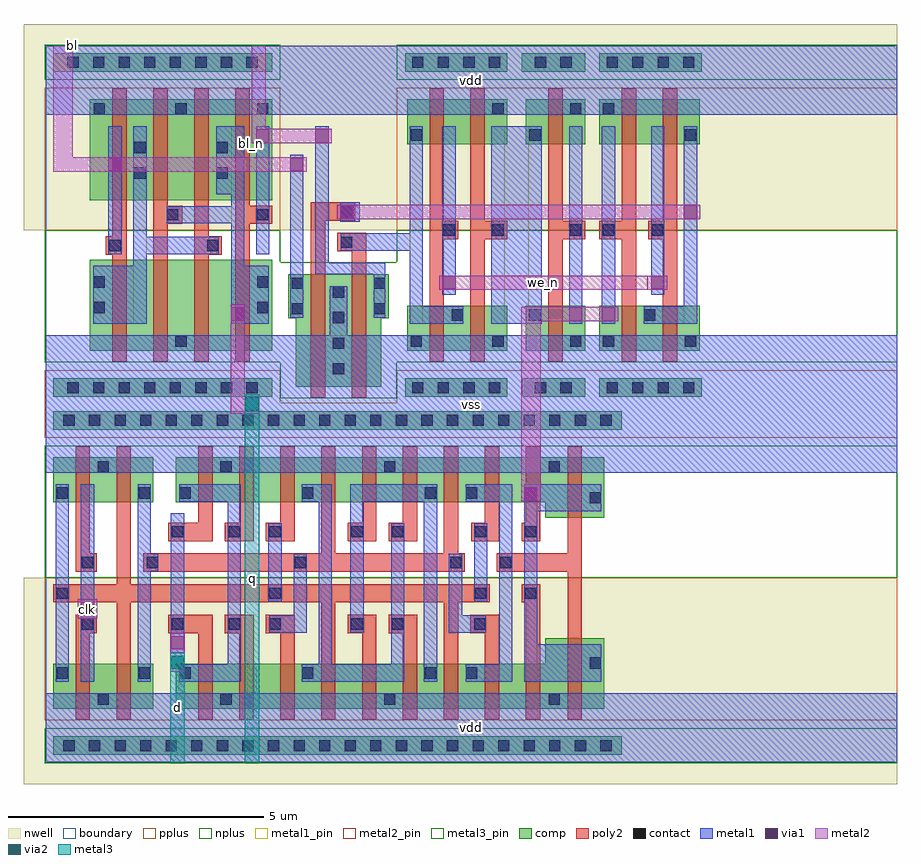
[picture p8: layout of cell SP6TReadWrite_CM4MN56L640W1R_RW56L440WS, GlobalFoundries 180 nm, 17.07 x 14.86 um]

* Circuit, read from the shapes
.subckt SP6TReadWrite_CM4MN56L640W1R_RW56L440WS bl bl_n clk d q vdd vss we_n
XM1 vss clk n1 vss nfet_03v3 w=0.88u l=0.28u
XM2 n2 bl nsnrlatch_x1_0/nq vss nfet_03v3 w=1.775u l=0.28u
XM3 n3 n1 vss vss nfet_03v3 w=0.88u l=0.28u
XM4 vss q n2 vss nfet_03v3 w=1.775u l=0.28u
XM5 n4 nsnrlatch_x1_0/nq vss vss nfet_03v3 w=1.775u l=0.28u
XM6 vss d n5 vss nfet_03v3 w=0.88u l=0.28u
XM7 q bl_n n4 vss nfet_03v3 w=1.775u l=0.28u
XM8 n6 n5 vss vss nfet_03v3 w=0.88u l=0.28u
XM9 n7 n1 n6 vss nfet_03v3 w=0.88u l=0.28u
XM10 vss nor2_x0_3/nq bl vss nfet_03v3 w=2.2u l=0.28u
XM11 n8 n3 n7 vss nfet_03v3 w=0.88u l=0.28u
XM12 bl_n nor2_x0_1/nq vss vss nfet_03v3 w=2.2u l=0.28u
XM13 vss n9 n8 vss nfet_03v3 w=0.88u l=0.28u
XM14 n9 n7 vss vss nfet_03v3 w=0.88u l=0.28u
XM15 nor2_x0_1/nq we_n vss vss nfet_03v3 w=0.88u l=0.28u
XM16 n10 n3 n9 vss nfet_03v3 w=0.88u l=0.28u
XM17 vss nor2_x0_1/i0 nor2_x0_1/nq vss nfet_03v3 w=0.88u l=0.28u
XM18 n11 n1 n10 vss nfet_03v3 w=0.88u l=0.28u
XM19 vss inv_x0_2/i n11 vss nfet_03v3 w=0.88u l=0.28u
XM20 vss inv_x0_2/i nor2_x0_1/i0 vss nfet_03v3 w=0.88u l=0.28u
XM21 inv_x0_2/i n10 vss vss nfet_03v3 w=1.175u l=0.28u
XM22 nor2_x0_3/nq inv_x0_2/i vss vss nfet_03v3 w=0.88u l=0.28u
XM23 vss we_n nor2_x0_3/nq vss nfet_03v3 w=0.88u l=0.28u
XM24 vdd clk n1 vdd pfet_03v3 w=0.88u l=0.28u
XM25 nsnrlatch_x1_0/nq bl vdd vdd pfet_03v3 w=1.975u l=0.28u
XM26 n3 n1 vdd vdd pfet_03v3 w=0.88u l=0.28u
XM27 vdd q nsnrlatch_x1_0/nq vdd pfet_03v3 w=1.975u l=0.28u
XM28 q nsnrlatch_x1_0/nq vdd vdd pfet_03v3 w=1.975u l=0.28u
XM29 vdd d n5 vdd pfet_03v3 w=0.88u l=0.28u
XM30 vdd bl_n q vdd pfet_03v3 w=1.975u l=0.28u
XM31 n12 n5 vdd vdd pfet_03v3 w=0.88u l=0.28u
XM32 n7 n3 n12 vdd pfet_03v3 w=0.88u l=0.28u
XM33 n13 n1 n7 vdd pfet_03v3 w=0.88u l=0.28u
XM34 vdd n9 n13 vdd pfet_03v3 w=0.88u l=0.28u
XM35 n9 n7 vdd vdd pfet_03v3 w=0.88u l=0.28u
XM36 n14 we_n nor2_x0_1/nq vdd pfet_03v3 w=0.88u l=0.28u
XM37 n10 n1 n9 vdd pfet_03v3 w=0.88u l=0.28u
XM38 vdd nor2_x0_1/i0 n14 vdd pfet_03v3 w=0.88u l=0.28u
XM39 n15 n3 n10 vdd pfet_03v3 w=0.88u l=0.28u
XM40 vdd inv_x0_2/i n15 vdd pfet_03v3 w=0.88u l=0.28u
XM41 vdd inv_x0_2/i nor2_x0_1/i0 vdd pfet_03v3 w=0.88u l=0.28u
XM42 inv_x0_2/i n10 vdd vdd pfet_03v3 w=1.375u l=0.28u
XM43 n16 inv_x0_2/i vdd vdd pfet_03v3 w=0.88u l=0.28u
XM44 nor2_x0_3/nq we_n n16 vdd pfet_03v3 w=0.88u l=0.28u
.ends

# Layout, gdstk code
from math import pi, radians
import gdstk
lib = gdstk.Library(unit=1e-6, precision=1e-09)
def R(c, l, rs):  # rectangles x0, y0, x1, y1
    for r in rs: c.add(gdstk.rectangle(r[:2], r[2:], *l))
def A(c, l, x, y, w, h, nx, ny, dx, dy):  # array of equal rectangles
    R(c, l, [(x+i*dx, y+j*dy, x+i*dx+w, y+j*dy+h) for i in range(nx) for j in range(ny)])
def P(c, l, *ps):  # polygons
    for p in ps: c.add(gdstk.Polygon(p, *l))
boundary = (0, 0)
nwell = (21, 0)
comp = (22, 0)
poly2 = (30, 0)
pplus = (31, 0)
nplus = (32, 0)
contact = (33, 0)
metal1 = (34, 0)
metal1_pin = (34, 10)
via1 = (35, 0)
metal2 = (36, 0)
metal2_pin = (36, 10)
via2 = (38, 0)
metal3 = (42, 0)
metal3_pin = (42, 10)

nsnrlatch_x1 = lib.new_cell('nsnrlatch_x1')
R(nsnrlatch_x1, nwell, [(-0.43,3.4,4.99,7.43)])
R(nsnrlatch_x1, comp, [(0.14,0.14,4.42,0.5), (0.14,1.045,3.7,2.82), (0.14,3.98,3.7,5.955), (0.14,6.5,4.42,6.86)])
R(nsnrlatch_x1, poly2, [(1.3,2.92,1.52,3.28), (3.12,2.92,3.21,3.28)])
P(nsnrlatch_x1, poly2, [(2.18,0.825),(2.18,3.52),(1.9,3.52),(1.9,3.88),(2.18,3.88),(2.18,6.175),(2.46,6.175),(2.46,0.825)],
  [(0.58,0.825),(0.58,3.52),(0.14,3.52),(0.14,3.88),(0.58,3.88),(0.58,6.175),(0.86,6.175),(0.86,0.825)],
  [(1.38,0.825),(1.38,2.92),(1.12,2.92),(1.12,3.28),(1.38,3.28),(1.38,6.175),(1.66,6.175),(1.66,0.825)],
  [(2.98,0.825),(2.98,6.175),(3.26,6.175),(3.26,3.28),(3.39,3.28),(3.39,2.92),(3.26,2.92),(3.26,0.825)])
R(nsnrlatch_x1, pplus, [(-0.02,-0.02,4.58,0.66), (-0.02,3.4,4.58,6.185)])
R(nsnrlatch_x1, nplus, [(-0.02,0.815,4.58,3.4), (-0.02,6.34,4.58,7.02)])
A(nsnrlatch_x1, contact, 0.42, 0.21, 0.22, 0.22, 8, 2, 0.5, 6.36)
A(nsnrlatch_x1, contact, 0.21, 5.665, 0.22, 0.22, 3, 1, 1.6, 0)
R(nsnrlatch_x1, contact, [(1.81,1.115,2.03,1.335), (0.21,1.775,0.43,1.995), (3.41,1.775,3.63,1.995), (0.21,2.275,0.43,2.495), (3.41,2.275,3.63,2.495), (1.19,2.99,1.41,3.21), (3.1,2.99,3.32,3.21), (0.21,3.59,0.43,3.81), (1.97,3.59,2.19,3.81), (1.01,4.405,1.23,4.625), (2.61,4.405,2.83,4.625), (1.01,4.905,1.23,5.125), (2.61,4.905,2.83,5.125)])
R(nsnrlatch_x1, metal1, [(0,0,4.56,1.34), (0.19,2.93,0.45,5.43), (3.08,2.93,3.34,5.43), (0,5.66,4.56,7)])
P(nsnrlatch_x1, metal1, [(0.205,1.57),(0.205,2.7),(0.68,2.7),(0.68,5.43),(1.235,5.43),(1.235,4.1),(0.94,4.1),(0.94,3.87),(2.195,3.87),(2.195,3.53),(0.94,3.53),(0.94,1.57)],
  [(2.59,1.57),(2.59,2.93),(1.185,2.93),(1.185,3.27),(2.59,3.27),(2.59,5.43),(2.85,5.43),(2.85,2.7),(3.635,2.7),(3.635,1.57)])
R(nsnrlatch_x1, metal1_pin, [(0,0,4.56,1.34), (0.68,1.57,0.94,5.43), (2.59,1.57,2.85,5.43), (0.19,2.93,0.45,5.43), (3.08,2.93,3.34,5.43), (0,5.66,4.56,7)])
nsnrlatch_x1.add(gdstk.Label('q', (0.81,3.5), layer=34, texttype=10))
nsnrlatch_x1.add(gdstk.Label('vdd', (2.28,6.33), layer=34, texttype=10))
nsnrlatch_x1.add(gdstk.Label('vss', (2.28,0.67), layer=34, texttype=10))
nsnrlatch_x1.add(gdstk.Label('nset', (0.32,4.18), layer=34, texttype=10))
nsnrlatch_x1.add(gdstk.Label('nq', (2.72,3.5), layer=34, texttype=10))
nsnrlatch_x1.add(gdstk.Label('nrst', (3.21,4.18), layer=34, texttype=10))

nor2_x0 = lib.new_cell('nor2_x0')
R(nor2_x0, nwell, [(-0.43,3.4,2.71,7.43)])
R(nor2_x0, comp, [(0.14,0.14,2.14,0.5), (0.14,1.045,2.1,1.925), (0.14,5.075,2.1,5.955), (0.14,6.5,2.14,6.86)])
P(nor2_x0, poly2, [(0.58,0.825),(0.58,3.22),(0.14,3.22),(0.14,3.58),(0.58,3.58),(0.58,6.175),(0.86,6.175),(0.86,0.825)],
  [(1.38,0.825),(1.38,3.22),(1.1,3.22),(1.1,3.58),(1.38,3.58),(1.38,6.175),(1.66,6.175),(1.66,0.825)])
R(nor2_x0, pplus, [(-0.02,-0.02,2.3,0.66), (-0.02,3.4,2.3,6.185)])
R(nor2_x0, nplus, [(-0.02,0.815,2.3,3.4), (-0.02,6.34,2.3,7.02)])
A(nor2_x0, contact, 0.28, 0.21, 0.22, 0.22, 4, 2, 0.5, 6.36)
R(nor2_x0, contact, [(0.21,1.115,0.43,1.335), (1.81,1.115,2.03,1.335), (1.01,1.63,1.23,1.85), (0.21,3.29,0.43,3.51), (1.17,3.29,1.39,3.51), (1.81,5.15,2.03,5.37), (0.21,5.665,0.43,5.885)])
R(nor2_x0, metal1, [(0,0,2.28,1.34), (0.19,1.57,0.45,5.43), (1.15,2.14,1.41,5.43), (0,5.66,2.28,7)])
P(nor2_x0, metal1, [(1.005,1.57),(1.005,1.91),(1.79,1.91),(1.79,5.43),(2.05,5.43),(2.05,1.57)])
R(nor2_x0, metal1_pin, [(0,0,2.28,1.34), (0.19,1.57,0.45,5.43), (1.79,1.57,2.05,5.43), (1.15,2.14,1.41,5.43), (0,5.66,2.28,7)])
nor2_x0.add(gdstk.Label('vss', (1.14,0.67), layer=34, texttype=10))
nor2_x0.add(gdstk.Label('vdd', (1.14,6.33), layer=34, texttype=10))
nor2_x0.add(gdstk.Label('nq', (1.92,3.5), layer=34, texttype=10))
nor2_x0.add(gdstk.Label('i0', (0.32,3.5), layer=34, texttype=10))
nor2_x0.add(gdstk.Label('i1', (1.28,3.785), layer=34, texttype=10))

inv_x0 = lib.new_cell('inv_x0')
R(inv_x0, nwell, [(-0.43,3.4,1.95,7.43)])
R(inv_x0, comp, [(0.14,0.14,1.38,0.5), (0.14,1.045,1.3,1.925), (0.14,5.075,1.3,5.955), (0.14,6.5,1.38,6.86)])
P(inv_x0, poly2, [(0.58,0.825),(0.58,3.22),(0.14,3.22),(0.14,3.58),(0.58,3.58),(0.58,6.175),(0.86,6.175),(0.86,0.825)])
R(inv_x0, pplus, [(-0.02,-0.02,1.54,0.66), (-0.02,3.4,1.54,6.185)])
R(inv_x0, nplus, [(-0.02,0.815,1.54,3.4), (-0.02,6.34,1.54,7.02)])
R(inv_x0, contact, [(0.4,0.21,0.62,0.43), (0.9,0.21,1.12,0.43), (0.21,1.115,0.43,1.335), (1.01,1.63,1.23,1.85), (0.21,3.29,0.43,3.51), (1.01,5.15,1.23,5.37), (0.21,5.665,0.43,5.885), (0.4,6.57,0.62,6.79), (0.9,6.57,1.12,6.79)])
R(inv_x0, metal1, [(0,0,1.52,1.34), (0.19,1.57,0.45,5.43), (0.99,1.57,1.25,5.43), (0,5.66,1.52,7)])
R(inv_x0, metal1_pin, [(0,0,1.52,1.34), (0.19,1.57,0.45,5.43), (0.99,1.57,1.25,5.43), (0,5.66,1.52,7)])
inv_x0.add(gdstk.Label('vss', (0.76,0.67), layer=34, texttype=10))
inv_x0.add(gdstk.Label('vdd', (0.76,6.33), layer=34, texttype=10))
inv_x0.add(gdstk.Label('nq', (1.12,3.5), layer=34, texttype=10))
inv_x0.add(gdstk.Label('i', (0.32,3.5), layer=34, texttype=10))

dff_x1 = lib.new_cell('dff_x1')
R(dff_x1, nwell, [(-0.43,3.4,11.83,7.43)])
R(dff_x1, comp, [(0.14,0.14,11.26,0.5), (0.14,1.045,2.1,1.925), (0.14,5.075,2.1,5.955), (0.14,6.5,11.26,6.86)])
P(dff_x1, comp, [(9.76,4.58),(9.76,5.075),(2.54,5.075),(2.54,5.955),(10.92,5.955),(10.92,4.58)],
  [(2.54,1.045),(2.54,1.925),(9.76,1.925),(9.76,2.22),(10.92,2.22),(10.92,1.045)])
P(dff_x1, poly2, [(4.58,0.825),(4.58,2.32),(4.3,2.32),(4.3,2.68),(4.86,2.68),(4.86,0.825)],
  [(8.58,0.825),(8.58,2.32),(8.32,2.32),(8.32,2.68),(8.86,2.68),(8.86,0.825)],
  [(1.38,0.825),(1.38,3.52),(0.14,3.52),(0.14,3.88),(1.38,3.88),(1.38,6.175),(1.66,6.175),(1.66,3.88),(5.38,3.88),(5.38,6.175),(5.66,6.175),(5.66,3.88),(7.78,3.88),(7.78,6.175),(8.06,6.175),(8.06,3.88),(8.68,3.88),(8.68,3.52),(1.66,3.52),(1.66,0.825)],
  [(0.58,0.825),(0.58,3.28),(0.99,3.28),(0.99,2.92),(0.86,2.92),(0.86,0.825)],
  [(0.58,4.12),(0.58,6.175),(0.86,6.175),(0.86,4.48),(0.99,4.48),(0.99,4.12)],
  [(4.3,4.12),(4.3,4.48),(4.58,4.48),(4.58,6.175),(4.86,6.175),(4.86,4.12)],
  [(5.38,0.825),(5.38,2.92),(1.9,2.92),(1.9,3.28),(8.19,3.28),(8.19,2.92),(8.06,2.92),(8.06,0.825),(7.78,0.825),(7.78,2.92),(5.66,2.92),(5.66,0.825)],
  [(8.3,4.12),(8.3,4.48),(8.58,4.48),(8.58,6.175),(8.86,6.175),(8.86,4.12)],
  [(3.5,4.12),(3.5,4.48),(3.78,4.48),(3.78,6.175),(4.06,6.175),(4.06,4.12)],
  [(3.78,0.825),(3.78,2.32),(3.5,2.32),(3.5,2.68),(4.06,2.68),(4.06,0.825)],
  [(2.98,0.825),(2.98,2.32),(2.39,2.32),(2.39,2.68),(3.26,2.68),(3.26,0.825)],
  [(2.39,4.12),(2.39,4.48),(2.98,4.48),(2.98,6.175),(3.26,6.175),(3.26,4.12)],
  [(6.98,0.825),(6.98,2.32),(6.7,2.32),(6.7,2.68),(7.26,2.68),(7.26,0.825)],
  [(6.7,4.12),(6.7,4.48),(6.98,4.48),(6.98,6.175),(7.26,6.175),(7.26,4.12)],
  [(5.9,4.12),(5.9,4.48),(6.18,4.48),(6.18,6.175),(6.46,6.175),(6.46,4.12)],
  [(6.18,0.825),(6.18,2.32),(5.9,2.32),(5.9,2.68),(6.46,2.68),(6.46,0.825)],
  [(10.2,0.825),(10.2,2.92),(8.81,2.92),(8.81,3.28),(10.2,3.28),(10.2,6.175),(10.48,6.175),(10.48,0.825)],
  [(9.3,3.52),(9.3,3.88),(9.38,3.88),(9.38,6.175),(9.66,6.175),(9.66,3.52)],
  [(9.38,0.825),(9.38,2.32),(9.3,2.32),(9.3,2.68),(9.66,2.68),(9.66,0.825)])
R(dff_x1, pplus, [(-0.02,-0.02,11.42,0.66), (-0.02,3.4,11.42,6.185)])
R(dff_x1, nplus, [(-0.02,0.815,11.42,3.4), (-0.02,6.34,11.42,7.02)])
A(dff_x1, contact, 0.34, 0.21, 0.22, 0.22, 22, 2, 0.5, 6.36)
A(dff_x1, contact, 2.61, 1.63, 0.22, 0.22, 3, 2, 2.4, 3.52)
R(dff_x1, contact, [(1.01,1.115,1.23,1.335), (3.41,1.115,3.63,1.335), (6.61,1.115,6.83,1.335), (9.83,1.115,10.05,1.335), (0.21,1.63,0.43,1.85), (1.81,1.63,2.03,1.85), (8.21,1.63,8.43,1.85), (10.63,1.725,10.85,1.945), (2.46,2.39,2.68,2.61), (3.57,2.39,3.79,2.61), (4.37,2.39,4.59,2.61), (5.97,2.39,6.19,2.61), (6.77,2.39,6.99,2.61), (8.39,2.39,8.61,2.61), (9.37,2.39,9.59,2.61), (0.7,2.99,0.92,3.21), (1.97,2.99,2.19,3.21), (4.86,2.99,5.08,3.21), (7.9,2.99,8.12,3.21), (8.88,2.99,9.1,3.21), (0.21,3.59,0.43,3.81), (4.37,3.59,4.59,3.81), (8.39,3.59,8.61,3.81), (9.37,3.59,9.59,3.81), (0.7,4.19,0.92,4.41), (2.46,4.19,2.68,4.41), (3.57,4.19,3.79,4.41), (4.37,4.19,4.59,4.41), (5.97,4.19,6.19,4.41), (6.77,4.19,6.99,4.41), (8.37,4.19,8.59,4.41), (10.63,4.955,10.85,5.175), (0.21,5.15,0.43,5.37), (1.81,5.15,2.03,5.37), (8.21,5.15,8.43,5.37), (1.01,5.665,1.23,5.885), (3.41,5.665,3.63,5.885), (6.61,5.665,6.83,5.885), (9.83,5.665,10.05,5.885)])
R(dff_x1, metal1, [(0,0,11.4,1.34), (0.19,1.57,0.45,5.43), (0.68,1.57,0.94,5.43), (2.44,2.14,2.7,4.86), (4.35,2.33,4.61,3.87), (8.37,2.33,8.63,3.87), (0,5.66,11.4,7)])
P(dff_x1, metal1, [(7.88,2.93),(7.88,4.47),(8.595,4.47),(8.595,4.13),(8.14,4.13),(8.14,2.93)],
  [(1.79,1.57),(1.79,5.43),(2.05,5.43),(2.05,3.27),(2.195,3.27),(2.195,2.93),(2.05,2.93),(2.05,1.57)],
  [(4.84,2.93),(4.84,4.13),(4.365,4.13),(4.365,4.47),(5.1,4.47),(5.1,2.93)],
  [(2.605,1.57),(2.605,1.91),(3.55,1.91),(3.55,5.09),(2.605,5.09),(2.605,5.43),(3.81,5.43),(3.81,1.57)],
  [(5.005,1.57),(5.005,1.91),(5.33,1.91),(5.33,5.09),(5.005,5.09),(5.005,5.43),(7.01,5.43),(7.01,2.33),(6.75,2.33),(6.75,5.09),(5.59,5.09),(5.59,1.57)],
  [(5.95,1.57),(5.95,4.47),(6.21,4.47),(6.21,1.91),(7.39,1.91),(7.39,5.43),(7.65,5.43),(7.65,1.57)],
  [(8.205,1.57),(8.205,1.91),(8.86,1.91),(8.86,5.09),(8.205,5.09),(8.205,5.43),(9.12,5.43),(9.12,1.57)],
  [(9.35,1.57),(9.35,5.43),(10.855,5.43),(10.855,4.7),(9.61,4.7),(9.61,2.1),(10.855,2.1),(10.855,1.57)])
R(dff_x1, metal1_pin, [(0,0,11.4,1.34), (0.68,1.57,0.94,5.43), (9.35,1.57,9.61,5.43), (2.44,2.14,2.7,4.86), (0,5.66,11.4,7)])
dff_x1.add(gdstk.Label('vdd', (5.7,6.33), layer=34, texttype=10))
dff_x1.add(gdstk.Label('vss', (5.7,0.67), layer=34, texttype=10))
dff_x1.add(gdstk.Label('clk', (0.81,3.5), layer=34, texttype=10))
dff_x1.add(gdstk.Label('i', (2.57,3.5), layer=34, texttype=10))
dff_x1.add(gdstk.Label('q', (9.48,3.5), layer=34, texttype=10))

sp6treadwrite_cm4mn56l64 = lib.new_cell('SP6TReadWrite_CM4MN56L640W1R_RW56L440WS')
R(sp6treadwrite_cm4mn56l64, boundary, [(0,0,16.64,14)])
R(sp6treadwrite_cm4mn56l64, nwell, [(-0.43,-0.43,16.64,3.6), (-0.43,10.4,16.64,14.43)])
P(sp6treadwrite_cm4mn56l64, comp, [(4.88,7.34),(4.88,8.68),(4.74,8.68),(4.74,9.54),(6.7,9.54),(6.7,8.68),(6.56,8.68),(6.56,7.34)])
P(sp6treadwrite_cm4mn56l64, poly2, [(5.18,7.12),(5.18,10.945),(6.05,10.945),(6.05,10.585),(5.46,10.585),(5.46,7.12)],
  [(5.98,7.12),(5.98,9.985),(5.7,9.985),(5.7,10.345),(6.26,10.345),(6.26,7.12)])
R(sp6treadwrite_cm4mn56l64, pplus, [(-0.02,0.815,16.64,3.6), (10.66,10.4,16.64,13.185)])
P(sp6treadwrite_cm4mn56l64, pplus, [(-0.02,6.34),(-0.02,7.02),(10.66,7.02),(10.66,7.66),(16.64,7.66),(16.64,6.34)])
R(sp6treadwrite_cm4mn56l64, nplus, [(-0.02,-0.02,16.64,0.66), (-0.02,3.6,16.64,6.185), (10.66,7.815,16.64,10.4), (10.66,13.34,16.64,14.02)])
P(sp6treadwrite_cm4mn56l64, nplus, [(4.58,7.11),(4.58,7.815),(4.56,7.815),(4.56,9.77),(6.88,9.77),(6.88,7.815),(6.86,7.815),(6.86,7.11)])
A(sp6treadwrite_cm4mn56l64, contact, 5.61, 7.58, 0.22, 0.22, 1, 4, 0, 0.5)
R(sp6treadwrite_cm4mn56l64, contact, [(4.81,8.75,5.03,8.97), (6.41,8.75,6.63,8.97), (4.81,9.25,5.03,9.47), (6.41,9.25,6.63,9.47), (5.77,10.055,5.99,10.275), (5.76,10.655,5.98,10.875)])
R(sp6treadwrite_cm4mn56l64, metal1, [(0,0,16.64,1.34), (2.44,2.14,2.7,2.52), (0.68,2.8,0.94,3.18), (9.35,5.05,9.61,5.43), (3.62,8.57,3.88,8.95), (8.84,8.57,9.69,12.43), (10.23,8.57,10.49,8.95), (10.87,8.57,11.13,8.95), (4.775,8.69,5.035,11.87), (7.75,9.18,8.01,9.56), (11.83,9.18,12.09,9.56), (5.765,9.995,7.37,10.335), (5.755,10.565,6.135,10.945), (12.47,10.565,12.73,10.945), (1.22,11.49,1.48,11.87), (4.11,12.05,4.37,12.43), (0,12.66,16.64,14)])
P(sp6treadwrite_cm4mn56l64, metal1, [(0,5.66),(0,8.34),(5.55,8.34),(5.55,9.305),(5.89,9.305),(5.89,8.34),(16.64,8.34),(16.64,5.66)],
  [(6.405,8.69),(6.405,9.535),(5.265,9.535),(5.265,12.43),(5.525,12.43),(5.525,9.765),(6.635,9.765),(6.635,8.69)])
R(sp6treadwrite_cm4mn56l64, metal1_pin, [(0,0,16.64,1.34), (0,5.66,16.64,8.34), (0,12.66,16.64,14)])
R(sp6treadwrite_cm4mn56l64, via1, [(2.44,2.2,2.7,2.46), (0.68,2.86,0.94,3.12), (9.35,5.11,9.61,5.37), (3.62,8.63,3.88,8.89), (10.23,8.63,10.49,8.89), (10.87,8.63,11.13,8.89), (7.75,9.24,8.01,9.5), (11.83,9.24,12.09,9.5), (5.755,10.625,6.015,10.885), (12.47,10.625,12.73,10.885), (1.22,11.55,1.48,11.81), (4.775,11.55,5.035,11.81), (4.11,12.11,4.37,12.37), (5.265,12.11,5.525,12.37)])
R(sp6treadwrite_cm4mn56l64, metal2, [(2.43,1.76,2.71,2.52), (0.62,2.8,1,3.18), (7.69,9.23,12.15,9.51), (5.695,10.615,12.79,10.895)])
P(sp6treadwrite_cm4mn56l64, metal2, [(0.14,11.54),(0.14,14),(0.52,14),(0.52,11.82),(5.095,11.82),(5.095,11.54)],
  [(4.02,12.1),(4.02,14),(4.3,14),(4.3,12.38),(5.585,12.38),(5.585,12.1)],
  [(3.61,6.81),(3.61,8.95),(3.89,8.95),(3.89,7.19),(4.17,7.19),(4.17,6.81)],
  [(9.29,5.1),(9.29,8.9),(11.19,8.9),(11.19,8.62),(9.67,8.62),(9.67,5.1)])
R(sp6treadwrite_cm4mn56l64, metal2_pin, [(0.62,2.8,1,3.18), (7.69,9.23,11.77,9.51)])
P(sp6treadwrite_cm4mn56l64, metal2_pin, [(0.14,11.54),(0.14,14),(0.52,14),(0.52,11.82),(5.095,11.82),(5.095,11.54)],
  [(4.02,12.1),(4.02,14),(4.3,14),(4.3,12.38),(5.585,12.38),(5.585,12.1)])
R(sp6treadwrite_cm4mn56l64, via2, [(2.44,1.82,2.7,2.08), (3.9,6.87,4.16,7.13)])
R(sp6treadwrite_cm4mn56l64, metal3, [(2.43,0,2.71,2.14), (3.89,0,4.17,7.19)])
R(sp6treadwrite_cm4mn56l64, metal3_pin, [(2.43,0,2.71,2.14), (3.89,0,4.17,7.19)])
sp6treadwrite_cm4mn56l64.add(gdstk.Reference(nsnrlatch_x1, (4.56,7), rotation=pi, x_reflection=True))
sp6treadwrite_cm4mn56l64.add(gdstk.Reference(nor2_x0, (9.16,7), rotation=pi, x_reflection=True))
sp6treadwrite_cm4mn56l64.add(gdstk.Reference(inv_x0, (10.68,7), rotation=pi, x_reflection=True))
sp6treadwrite_cm4mn56l64.add(gdstk.Reference(nor2_x0, (10.68,7)))
sp6treadwrite_cm4mn56l64.add(gdstk.Reference(dff_x1, (0,7), x_reflection=True))
sp6treadwrite_cm4mn56l64.add(gdstk.Label('q', (4.03,3.595), layer=42, texttype=10))
sp6treadwrite_cm4mn56l64.add(gdstk.Label('d', (2.57,1.07), layer=42, texttype=10))
sp6treadwrite_cm4mn56l64.add(gdstk.Label('bl', (0.52,14), layer=36, texttype=10))
sp6treadwrite_cm4mn56l64.add(gdstk.Label('bl_n', (4.02,12.1), layer=36, texttype=10))
sp6treadwrite_cm4mn56l64.add(gdstk.Label('clk', (0.81,2.99), layer=36, texttype=10))
sp6treadwrite_cm4mn56l64.add(gdstk.Label('we_n', (9.73,9.37), layer=36, texttype=10))
sp6treadwrite_cm4mn56l64.add(gdstk.Label('vss', (8.32,7), layer=34, texttype=10))
sp6treadwrite_cm4mn56l64.add(gdstk.Label('vdd', (8.32,0.67), layer=34, texttype=10))
sp6treadwrite_cm4mn56l64.add(gdstk.Label('vdd', (8.32,13.33), layer=34, texttype=10))

lib.write_gds('SP6TReadWrite_CM4MN56L640W1R_RW56L440WS.gds')
